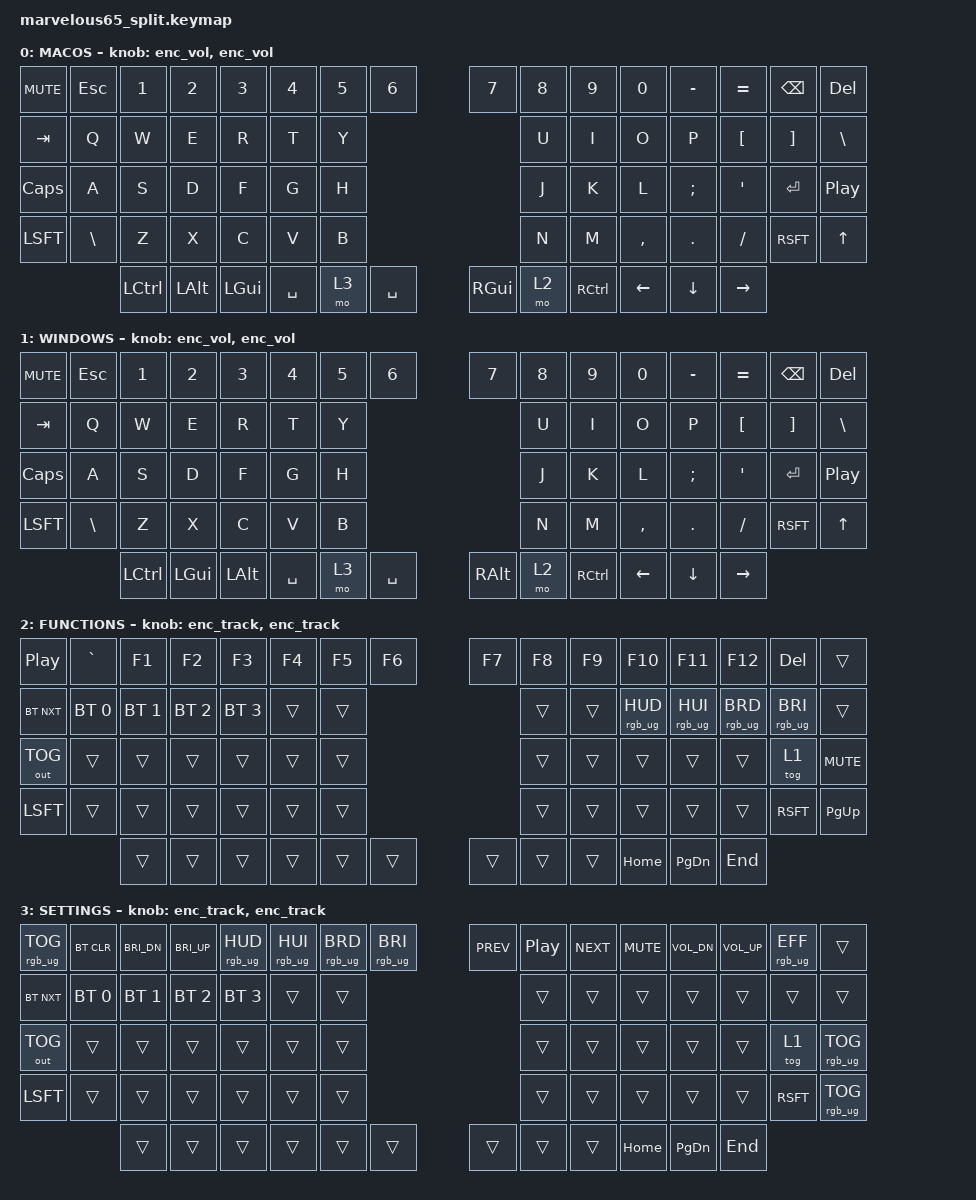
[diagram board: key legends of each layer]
/*
 * Copyright (c) 2024 Ujang Karnadi
 *
 * SPDX-License-Identifier: MIT
 *
 * Marvelous65 Split keymap. Same 65% layout as the non-split Rev2
 * but spread across 16 logical columns (8 left + 8 right). Both
 * halves run the same keymap; the right half's col-offset = <8> in
 * its overlay places its keys in the right half of the matrix.
 *
 * sensor-bindings has TWO entries (one per encoder) on every layer
 * — both halves run the same image, so the unused encoder is just
 * bound to the same action and is a no-op on that half.
 *
 * 65% ANSI split layout (16 cols × 5 rows, `//` marks L/R boundary):
 *
 *  Row 0: C_MUTE ESC 1 2 3 4 5 6   //   7 8 9 0 - = BKSP DEL
 *  Row 1: TAB   Q W E R T         //   Y U I O P [ ] BSLH
 *  Row 2: CAPS  A S D F G         //   H J K L ; ' RET C_PP
 *  Row 3: LSFT  \ Z X C V B       //   N M , . / RSFT UP
 *  Row 4: LCTL  LALT LGUI SPC MO3 //   SPC RGUI MO2 RCTL LEFT DOWN RIGHT
 */

#include <behaviors.dtsi>
#include <dt-bindings/zmk/keys.h>
#include <dt-bindings/zmk/bt.h>
#include <dt-bindings/zmk/outputs.h>
#include <dt-bindings/zmk/rgb.h>

/ {
    enc_vol: enc_vol {
        compatible = "zmk,behavior-sensor-rotate";
        label = "enc_vol";
        #sensor-binding-cells = <0>;
        bindings = <&kp C_VOL_UP>, <&kp C_VOL_DN>;
    };

    enc_track: enc_track {
        compatible = "zmk,behavior-sensor-rotate";
        label = "enc_track";
        #sensor-binding-cells = <0>;
        bindings = <&kp C_NEXT>, <&kp C_PREV>;
    };

    keymap0: keymap {
        compatible = "zmk,keymap";

        default_layer {
            label = "MACOS";
            bindings = <
&kp C_MUTE &kp ESC &kp NUM_1 &kp NUM_2 &kp NUM_3 &kp NUM_4 &kp NUM_5 &kp NUM_6                &kp NUM_7 &kp NUM_8 &kp NUM_9 &kp NUM_0 &kp MINUS &kp EQL  &kp BKSP  &kp DEL
&kp TAB    &kp Q   &kp W    &kp E    &kp R    &kp T                                       &kp Y    &kp U    &kp I    &kp O    &kp P    &kp LBKT  &kp RBKT  &kp BSLH
&kp CLCK   &kp A   &kp S    &kp D    &kp F    &kp G                                       &kp H    &kp J    &kp K    &kp L    &kp SCLN &kp QUOT                &kp RET   &kp C_PP
&kp LSFT   &kp BSLH &kp Z   &kp X    &kp C    &kp V    &kp B                             &kp N    &kp M    &kp CMMA &kp DOT  &kp FSLH          &kp RSFT  &kp UP
&kp LCTL   &kp LALT &kp LGUI &kp SPC          &mo 3                                    &kp SPC           &kp RGUI &mo 2    &kp RCTL &kp LEFT &kp DOWN &kp RIGHT
            >;
            sensor-bindings = <&enc_vol &enc_vol>;
        };

        macos_layer {
            label = "WINDOWS";
            bindings = <
&kp C_MUTE &kp ESC &kp NUM_1 &kp NUM_2 &kp NUM_3 &kp NUM_4 &kp NUM_5 &kp NUM_6                &kp NUM_7 &kp NUM_8 &kp NUM_9 &kp NUM_0 &kp MINUS &kp EQL  &kp BKSP  &kp DEL
&kp TAB    &kp Q   &kp W    &kp E    &kp R    &kp T                                       &kp Y    &kp U    &kp I    &kp O    &kp P    &kp LBKT  &kp RBKT  &kp BSLH
&kp CLCK   &kp A   &kp S    &kp D    &kp F    &kp G                                       &kp H    &kp J    &kp K    &kp L    &kp SCLN &kp QUOT                &kp RET   &kp C_PP
&kp LSFT   &kp BSLH &kp Z   &kp X    &kp C    &kp V    &kp B                             &kp N    &kp M    &kp CMMA &kp DOT  &kp FSLH          &kp RSFT  &kp UP
&kp LCTL   &kp LGUI &kp LALT &kp SPC          &mo 3                                    &kp SPC           &kp RALT &mo 2    &kp RCTL &kp LEFT &kp DOWN &kp RIGHT
            >;
            sensor-bindings = <&enc_vol &enc_vol>;
        };

        functions {
            label = "FUNCTIONS";
            bindings = <
&kp C_PP    &kp GRAVE &kp F1   &kp F2   &kp F3   &kp F4   &kp F5   &kp F6                 &kp F7   &kp F8   &kp F9   &kp F10  &kp F11  &kp F12  &kp DEL   &trans
&bt BT_NXT  &bt BT_SEL 0 &bt BT_SEL 1 &bt BT_SEL 2 &bt BT_SEL 3 &trans                &trans  &trans  &trans  &rgb_ug RGB_HUD &rgb_ug RGB_HUI &rgb_ug RGB_BRD &rgb_ug RGB_BRI &trans
&out OUT_TOG &trans &trans &trans &trans &trans                                     &trans &trans &trans &trans &trans &trans                &tog 1    &kp C_MUTE
&kp LSFT   &trans &trans &trans &trans &trans &trans                              &trans &trans &trans &trans &trans          &kp RSFT  &kp PG_UP
&trans     &trans &trans &trans         &trans                                  &trans         &trans &trans &trans &kp HOME &kp PG_DN &kp END
            >;
            sensor-bindings = <&enc_track &enc_track>;
        };

        settings {
            label = "SETTINGS";
            bindings = <
&rgb_ug RGB_TOG &bt BT_CLR &kp C_BRI_DN &kp C_BRI_UP &rgb_ug RGB_HUD &rgb_ug RGB_HUI &rgb_ug RGB_BRD &rgb_ug RGB_BRI &kp C_PREV &kp C_PP &kp C_NEXT &kp C_MUTE &kp C_VOL_DN &kp C_VOL_UP &rgb_ug RGB_EFF &trans
&bt BT_NXT  &bt BT_SEL 0 &bt BT_SEL 1 &bt BT_SEL 2 &bt BT_SEL 3 &trans                &trans  &trans  &trans  &trans  &trans  &trans &trans  &trans
&out OUT_TOG &trans &trans &trans &trans &trans                                     &trans &trans &trans &trans &trans &trans                &tog 1    &rgb_ug RGB_TOG
&kp LSFT   &trans &trans &trans &trans &trans &trans                              &trans &trans &trans &trans &trans          &kp RSFT  &rgb_ug RGB_TOG
&trans     &trans &trans &trans         &trans                                  &trans         &trans &trans &trans &kp HOME &kp PG_DN &kp END
            >;
            sensor-bindings = <&enc_track &enc_track>;
        };
    };
};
